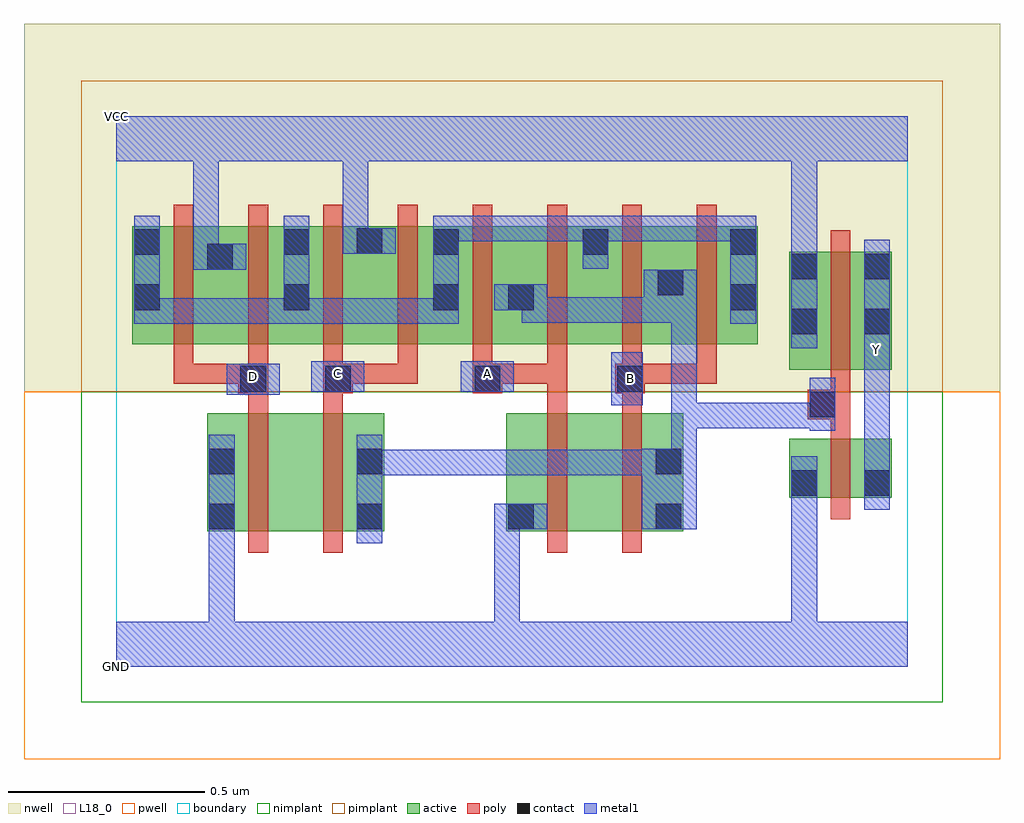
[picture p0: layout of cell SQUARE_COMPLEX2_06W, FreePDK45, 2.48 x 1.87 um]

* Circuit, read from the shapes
.subckt SQUARE_COMPLEX2_06W A B C D GND VCC Y
M1 n1 D GND VSUBS nfet w=0.3u l=0.05u
M2 n2 C n1 VSUBS nfet w=0.3u l=0.05u
M3 n3 A GND VSUBS nfet w=0.3u l=0.05u
M4 n2 B n3 VSUBS nfet w=0.3u l=0.05u
M5 Y n2 GND VSUBS nfet w=0.15u l=0.05u
M6 VCC D n4 n5 pfet w=0.3u l=0.05u m=2
M7 VCC C n4 n5 pfet w=0.3u l=0.05u m=2
M8 n2 A n4 n5 pfet w=0.3u l=0.05u m=2
M9 n2 B n4 n5 pfet w=0.3u l=0.05u m=2
M10 Y n2 VCC n5 pfet w=0.3u l=0.05u
.ends

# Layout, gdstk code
import gdstk
lib = gdstk.Library(unit=1e-6, precision=1e-09)
def R(c, l, rs):  # rectangles x0, y0, x1, y1
    for r in rs: c.add(gdstk.rectangle(r[:2], r[2:], *l))
def A(c, l, x, y, w, h, nx, ny, dx, dy):  # array of equal rectangles
    R(c, l, [(x+i*dx, y+j*dy, x+i*dx+w, y+j*dy+h) for i in range(nx) for j in range(ny)])
active = (1, 0)
pwell = (2, 0)
nwell = (3, 0)
nimplant = (4, 0)
pimplant = (5, 0)
poly = (9, 0)
contact = (10, 0)
metal1 = (11, 0)
L18_0 = (18, 0)
boundary = (235, 0)

square_complex2_06w = lib.new_cell('SQUARE_COMPLEX2_06W')
A(square_complex2_06w, active, 0.8, 0.82, 0.265, 0.3, 3, 1, 0.19, 0)
R(square_complex2_06w, active, [(0.23,0.345,0.305,0.645), (0.23,0.345,0.455,0.645), (0.455,0.345,0.68,0.645), (0.605,0.345,0.68,0.645), (0.99,0.345,1.065,0.645), (0.99,0.345,1.215,0.645), (1.215,0.345,1.44,0.645), (1.365,0.345,1.44,0.645), (1.71,0.43,1.785,0.58), (1.71,0.43,1.97,0.58), (1.895,0.43,1.97,0.58), (1.71,0.755,1.785,1.055), (1.71,0.755,1.97,1.055), (1.895,0.755,1.97,1.055), (0.04,0.82,0.3,1.12), (0.04,0.82,0.115,1.117), (0.225,0.82,0.3,1.12), (0.225,0.82,0.495,1.12), (0.42,0.82,0.495,1.12), (0.42,0.82,0.68,1.12), (0.605,0.82,0.68,1.12), (0.605,0.82,0.875,1.12), (0.8,0.82,0.875,1.117), (1.37,0.82,1.63,1.12), (1.555,0.82,1.63,1.117), (0.99,0.902,1.065,1.055), (1.37,0.94,1.445,1.055), (1.18,0.995,1.255,1.12)])
R(square_complex2_06w, pwell, [(-0.235,-0.235,2.245,0.7)])
R(square_complex2_06w, nwell, [(-0.235,0.7,2.245,1.635)])
R(square_complex2_06w, nimplant, [(-0.09,-0.09,2.1,0.7)])
R(square_complex2_06w, pimplant, [(-0.09,0.7,2.1,1.49)])
A(square_complex2_06w, poly, 0.145, 0.72, 0.05, 0.095, 8, 1, 0.19, 0)
A(square_complex2_06w, poly, 0.145, 0.765, 0.05, 0.41, 8, 1, 0.19, 0)
R(square_complex2_06w, poly, [(0.335,0.29,0.385,0.7), (0.525,0.29,0.575,0.7), (1.095,0.29,1.145,0.7), (1.285,0.29,1.335,0.7), (1.815,0.375,1.865,0.635), (1.815,0.585,1.865,0.68), (1.757,0.63,1.865,0.705), (0.335,0.65,0.385,0.745), (0.525,0.65,0.575,0.745), (1.095,0.65,1.145,0.77), (1.285,0.65,1.335,0.745), (1.815,0.655,1.865,0.75), (0.31,0.695,0.385,0.77), (0.525,0.695,0.6,0.77), (0.905,0.695,0.98,0.77), (1.267,0.695,1.342,0.77), (1.815,0.7,1.865,1.11), (0.145,0.72,0.195,0.77), (0.145,0.72,0.36,0.77), (0.31,0.72,0.36,0.77), (0.31,0.72,0.36,0.77), (0.55,0.72,0.6,0.77), (0.55,0.72,0.6,0.77), (0.55,0.72,0.765,0.77), (0.715,0.72,0.765,0.77), (0.93,0.72,0.98,0.77), (0.93,0.72,0.98,0.77), (0.93,0.72,1.145,0.77), (1.095,0.72,1.145,0.77), (1.292,0.72,1.525,0.77), (1.475,0.72,1.525,0.77), (1.475,0.72,1.525,0.77), (1.475,0.72,1.525,0.77)])
A(square_complex2_06w, contact, 0.045, 0.907, 0.065, 0.065, 3, 1, 0.38, 0)
A(square_complex2_06w, contact, 0.045, 1.047, 0.065, 0.065, 4, 1, 0.38, 0)
R(square_complex2_06w, contact, [(0.235,0.35,0.3,0.415), (0.61,0.35,0.675,0.415), (0.995,0.35,1.06,0.415), (1.37,0.35,1.435,0.415), (1.715,0.435,1.78,0.5), (1.9,0.435,1.965,0.5), (0.235,0.49,0.3,0.555), (0.61,0.49,0.675,0.555), (1.37,0.49,1.435,0.555), (1.762,0.635,1.827,0.7), (0.315,0.7,0.38,0.765), (0.53,0.7,0.595,0.765), (0.91,0.7,0.975,0.765), (1.272,0.7,1.337,0.765), (1.715,0.845,1.78,0.91), (1.9,0.845,1.965,0.91), (0.995,0.907,1.06,0.972), (1.56,0.907,1.625,0.972), (1.375,0.945,1.44,1.01), (1.715,0.985,1.78,1.05), (1.9,0.985,1.965,1.05), (0.23,1.01,0.295,1.075), (1.56,1.047,1.625,1.112), (0.61,1.05,0.675,1.115)])
A(square_complex2_06w, metal1, 0.045, 0.872, 0.065, 0.275, 3, 1, 0.38, 0)
R(square_complex2_06w, metal1, [(0,0,2.01,0.115), (0.235,0.05,0.3,0.38), (0.96,0.05,1.025,0.115), (0.96,0.05,1.025,0.115), (0.96,0.05,1.025,0.115), (0.96,0.05,1.025,0.115), (0.96,0.05,1.025,0.415), (1.715,0.05,1.78,0.115), (1.715,0.05,1.78,0.115), (1.715,0.05,1.78,0.115), (1.715,0.05,1.78,0.115), (1.715,0.05,1.78,0.115), (1.715,0.05,1.78,0.115), (1.715,0.05,1.78,0.465), (0.235,0.315,0.3,0.38), (0.235,0.315,0.3,0.38), (0.235,0.315,0.3,0.38), (0.235,0.315,0.3,0.38), (0.235,0.315,0.3,0.59), (0.61,0.315,0.675,0.59), (0.96,0.35,1.095,0.415), (1.335,0.35,1.475,0.555), (1.715,0.4,1.78,0.535), (1.9,0.4,1.965,0.535), (1.9,0.47,1.965,0.805), (0.61,0.487,0.675,0.552), (0.61,0.487,0.675,0.552), (0.61,0.487,0.87,0.552), (0.805,0.487,0.87,0.552), (0.805,0.487,0.87,0.552), (0.805,0.487,0.87,0.552), (0.805,0.487,1.007,0.552), (0.942,0.487,1.007,0.552), (0.942,0.487,1.007,0.552), (0.942,0.487,1.007,0.552), (0.942,0.487,1.262,0.552), (1.197,0.487,1.262,0.552), (1.197,0.487,1.337,0.552), (1.272,0.487,1.337,0.552), (1.272,0.487,1.4,0.552), (1.41,0.49,1.475,0.672), (1.762,0.6,1.827,0.735), (1.41,0.607,1.475,0.672), (1.41,0.607,1.475,0.672), (1.41,0.607,1.475,0.672), (1.41,0.607,1.69,0.672), (1.41,0.607,1.475,0.94), (1.625,0.607,1.69,0.672), (1.625,0.607,1.69,0.672), (1.625,0.607,1.69,0.672), (1.625,0.607,1.827,0.672), (1.257,0.665,1.337,0.8), (0.28,0.692,0.415,0.77), (0.495,0.7,0.63,0.777), (0.875,0.7,1.01,0.777), (1.9,0.74,1.965,0.875), (1.715,0.81,1.78,1.085), (1.9,0.81,1.965,0.875), (1.9,0.81,1.965,1.085), (0.045,0.872,0.11,0.937), (0.045,0.872,0.11,0.937), (0.045,0.872,0.352,0.937), (0.287,0.872,0.352,0.937), (0.287,0.872,0.352,0.937), (0.287,0.872,0.352,0.937), (0.287,0.872,0.49,0.937), (0.425,0.872,0.49,0.937), (0.425,0.872,0.49,0.937), (0.425,0.872,0.732,0.937), (0.667,0.872,0.732,0.937), (0.667,0.872,0.732,0.937), (0.667,0.872,0.732,0.937), (0.667,0.872,0.87,0.937), (1.56,0.872,1.625,1.147), (1.03,0.875,1.262,0.94), (1.03,0.875,1.095,0.972), (1.197,0.875,1.262,0.94), (1.197,0.875,1.262,0.94), (1.197,0.875,1.262,0.94), (1.197,0.875,1.405,0.94), (1.34,0.875,1.475,1.01), (0.96,0.907,1.095,0.972), (1.03,0.907,1.095,0.972), (0.195,1.01,0.26,1.075), (0.195,1.01,0.26,1.075), (0.195,1.01,0.33,1.075), (0.195,1.01,0.26,1.35), (1.185,1.012,1.25,1.147), (1.715,1.02,1.78,1.35), (0.575,1.05,0.71,1.115), (0.575,1.05,0.64,1.35), (0.805,1.082,0.87,1.147), (0.805,1.082,0.87,1.147), (0.805,1.082,0.87,1.147), (0.805,1.082,0.87,1.147), (0.805,1.082,1.007,1.147), (0.942,1.082,1.007,1.147), (0.942,1.082,1.007,1.147), (0.942,1.082,1.007,1.147), (0.942,1.082,1.25,1.147), (1.185,1.082,1.25,1.147), (1.185,1.082,1.25,1.147), (1.185,1.082,1.487,1.147), (1.422,1.082,1.487,1.147), (1.422,1.082,1.487,1.147), (1.422,1.082,1.487,1.147), (1.422,1.082,1.625,1.147), (0,1.285,2.01,1.4), (0.575,1.285,0.64,1.35), (0.575,1.285,0.64,1.35), (1.715,1.285,1.78,1.35), (1.715,1.285,1.78,1.35)])
R(square_complex2_06w, L18_0, [(0,0,2.01,0.115), (0.235,0.05,0.3,0.38), (0.96,0.05,1.025,0.115), (0.96,0.05,1.025,0.115), (0.96,0.05,1.025,0.115), (0.96,0.05,1.025,0.115), (0.96,0.05,1.025,0.415), (1.715,0.05,1.78,0.115), (1.715,0.05,1.78,0.115), (1.715,0.05,1.78,0.115), (1.715,0.05,1.78,0.115), (1.715,0.05,1.78,0.115), (1.715,0.05,1.78,0.115), (1.715,0.05,1.78,0.465), (0.235,0.315,0.3,0.38), (0.235,0.315,0.3,0.38), (0.235,0.315,0.3,0.38), (0.235,0.315,0.3,0.38), (0.235,0.315,0.3,0.59), (0.96,0.35,1.095,0.415), (1.715,0.4,1.78,0.535), (1.9,0.4,1.965,0.535), (1.9,0.47,1.965,0.805), (1.257,0.665,1.337,0.8), (0.28,0.692,0.415,0.77), (0.495,0.7,0.63,0.777), (0.875,0.7,1.01,0.777), (1.272,0.7,1.337,0.765), (0.315,0.705,0.38,0.77), (0.53,0.712,0.595,0.777), (0.91,0.712,0.975,0.777), (1.9,0.74,1.965,0.875), (1.9,0.775,1.965,0.84), (1.715,0.81,1.78,1.085), (1.9,0.81,1.965,0.875), (1.9,0.81,1.965,1.085), (0.195,1.01,0.26,1.075), (0.195,1.01,0.26,1.075), (0.195,1.01,0.33,1.075), (0.195,1.01,0.26,1.35), (1.715,1.02,1.78,1.35), (0.575,1.05,0.71,1.115), (0.575,1.05,0.64,1.35), (0,1.285,2.01,1.4), (0.575,1.285,0.64,1.35), (0.575,1.285,0.64,1.35), (1.715,1.285,1.78,1.35), (1.715,1.285,1.78,1.35)])
R(square_complex2_06w, boundary, [(0,0,2.01,1.4)])
square_complex2_06w.add(gdstk.Label('A', (0.942,0.745), layer=11, texttype=0))
square_complex2_06w.add(gdstk.Label('B', (1.305,0.732), layer=11, texttype=0))
square_complex2_06w.add(gdstk.Label('C', (0.562,0.745), layer=11, texttype=0))
square_complex2_06w.add(gdstk.Label('D', (0.347,0.737), layer=11, texttype=0))
square_complex2_06w.add(gdstk.Label('Y', (1.932,0.807), layer=11, texttype=0))
square_complex2_06w.add(gdstk.Label('VCC', (0,1.4), layer=11, texttype=0))
square_complex2_06w.add(gdstk.Label('GND', (0,0), layer=11, texttype=0))

lib.write_gds('SQUARE_COMPLEX2_06W.gds')
